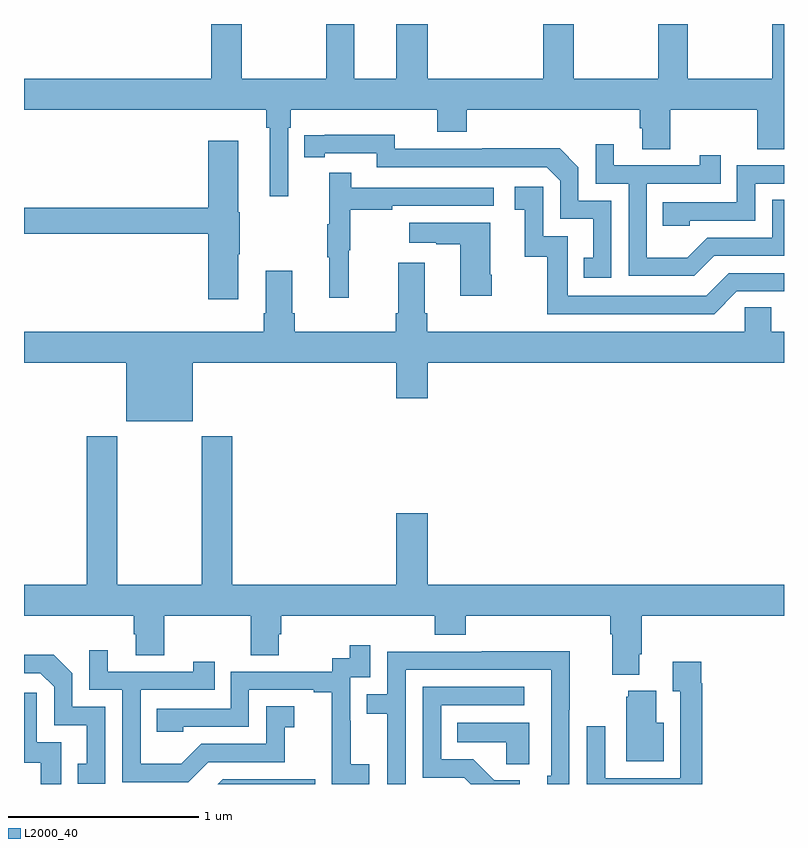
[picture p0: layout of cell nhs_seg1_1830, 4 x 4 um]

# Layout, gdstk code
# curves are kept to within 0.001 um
import gdstk
lib = gdstk.Library(unit=1e-6, precision=1e-09)
def P(c, l, *ps):  # polygons
    for p in ps: c.add(gdstk.Polygon(p, *l))
L2000_40 = (2000, 40)

nhs_seg1_1830 = lib.new_cell('nhs_seg1_1830')
P(nhs_seg1_1830, L2000_40, [(212.391,535.652),(212.405,535.652),(212.405,535.748),(213.176,535.748),(213.176,535.631),(213.329,535.631),(213.329,535.748),(214.241,535.748),(214.241,535.65),(214.253,535.65),(214.253,535.54),(214.401,535.54),(214.401,535.748),(214.858,535.748),(214.858,535.54),(215,535.54),(215,536.199),(214.939,536.199),(214.939,535.912),(214.494,535.912),(214.494,536.199),(214.339,536.199),(214.339,535.912),(213.894,535.912),(213.894,536.199),(213.734,536.199),(213.734,535.912),(213.124,535.912),(213.124,536.199),(212.96,536.199),(212.96,535.912),(212.737,535.912),(212.737,536.199),(212.59,536.199),(212.59,535.912),(212.145,535.912),(212.145,536.199),(211.985,536.199),(211.985,535.912),(211,535.912),(211,535.748),(212.275,535.748),(212.275,535.652),(212.294,535.652),(212.294,535.293),(212.391,535.293)],
  [(214.092,535.269),(213.918,535.269),(213.918,535.446),(213.82,535.544),(213.412,535.544),(213.412,535.542),(212.952,535.542),(212.952,535.615),(212.476,535.614),(212.476,535.498),(212.584,535.498),(212.584,535.518),(212.856,535.518),(212.856,535.446),(213.75,535.446),(213.822,535.374),(213.822,535.173),(213.995,535.173),(213.995,534.969),(213.946,534.969),(213.946,534.864),(214.092,534.864)],
  [(212.128,534.988),(212.136,534.988),(212.136,535.209),(212.128,535.209),(212.128,535.585),(211.97,535.585),(211.97,535.232),(211,535.232),(211,535.096),(211.97,535.096),(211.97,534.75),(212.128,534.75)],
  [(214.633,534.978),(215,534.978),(215,535.273),(214.938,535.273),(214.938,535.074),(214.596,535.074),(214.492,534.97),(214.278,534.97),(214.278,535.359),(214.667,535.359),(214.667,535.507),(214.556,535.507),(214.556,535.455),(214.105,535.455),(214.105,535.567),(214.008,535.567),(214.008,535.359),(214.182,535.359),(214.182,534.873),(214.528,534.873)],
  [(214.503,535.164),(214.848,535.164),(214.848,535.359),(215,535.359),(215,535.455),(214.752,535.455),(214.752,535.26),(214.363,535.26),(214.363,535.137),(214.503,535.137)],
  [(212.708,535.008),(212.716,535.008),(212.716,535.222),(212.939,535.222),(212.939,535.242),(213.472,535.242),(213.472,535.338),(212.723,535.338),(212.723,535.417),(212.606,535.417),(212.606,535.145),(212.595,535.145),(212.595,534.971),(212.606,534.971),(212.606,534.759),(212.708,534.759)],
  [(214.752,534.792),(215,534.792),(215,534.888),(214.71,534.888),(214.59,534.768),(213.861,534.768),(213.861,535.083),(213.732,535.083),(213.732,535.342),(213.582,535.342),(213.582,535.221),(213.635,535.221),(213.635,534.975),(213.753,534.975),(213.753,534.672),(214.632,534.672)],
  [(213.462,534.88),(213.454,534.88),(213.454,535.153),(213.027,535.153),(213.027,535.049),(213.17,535.049),(213.17,535.039),(213.296,535.039),(213.296,534.768),(213.462,534.768)],
  [(211.888,534.416),(212.96,534.416),(212.96,534.228),(213.124,534.228),(213.124,534.416),(215,534.416),(215,534.58),(214.933,534.58),(214.933,534.707),(214.794,534.707),(214.794,534.58),(213.122,534.58),(213.122,534.676),(213.109,534.676),(213.109,534.943),(212.969,534.943),(212.969,534.676),(212.957,534.676),(212.957,534.58),(212.426,534.58),(212.426,534.676),(212.413,534.676),(212.413,534.901),(212.273,534.901),(212.273,534.676),(212.261,534.676),(212.261,534.58),(211,534.58),(211,534.416),(211.538,534.416),(211.538,534.107),(211.888,534.107)],
  [(214.237,532.882),(214.25,532.882),(214.25,533.084),(215,533.084),(215,533.248),(213.124,533.248),(213.124,533.623),(212.96,533.623),(212.96,533.248),(212.096,533.248),(212.096,534.028),(211.936,534.028),(211.936,533.248),(211.491,533.248),(211.491,534.028),(211.331,534.028),(211.331,533.248),(211,533.248),(211,533.084),(211.577,533.084),(211.577,532.986),(211.589,532.986),(211.589,532.876),(211.737,532.876),(211.737,533.084),(212.194,533.084),(212.194,532.876),(212.341,532.876),(212.341,532.986),(212.354,532.986),(212.354,533.084),(213.161,533.084),(213.161,532.985),(213.326,532.985),(213.326,533.084),(214.085,533.084),(214.085,532.988),(214.097,532.988),(214.097,532.775),(214.237,532.775)],
  [(212.818,532.303),(212.72,532.303),(212.72,532.532),(212.718,532.532),(212.718,532.761),(212.823,532.761),(212.823,532.93),(212.715,532.93),(212.715,532.86),(212.622,532.86),(212.622,532.791),(212.088,532.791),(212.088,532.596),(211.699,532.596),(211.699,532.473),(211.839,532.473),(211.839,532.5),(212.184,532.5),(212.184,532.695),(212.525,532.695),(212.525,532.683),(212.621,532.683),(212.621,532.399),(212.62,532.399),(212.62,532.199),(212.818,532.199)],
  [(211.969,532.314),(212.373,532.314),(212.373,532.499),(212.422,532.499),(212.422,532.609),(212.274,532.609),(212.274,532.41),(211.932,532.41),(211.828,532.306),(211.614,532.306),(211.614,532.695),(212.003,532.695),(212.003,532.843),(211.892,532.843),(211.892,532.791),(211.441,532.791),(211.441,532.903),(211.344,532.903),(211.344,532.695),(211.518,532.695),(211.518,532.209),(211.864,532.209)],
  [(213.009,532.8),(213.774,532.8),(213.774,532.242),(213.755,532.242),(213.755,532.199),(213.87,532.199),(213.87,532.591),(213.873,532.591),(213.873,532.898),(213.409,532.898),(213.409,532.896),(212.913,532.896),(212.913,532.671),(212.803,532.671),(212.803,532.57),(212.913,532.57),(212.913,532.199),(213.009,532.199)],
  [(211.428,532.605),(211.254,532.605),(211.254,532.782),(211.156,532.88),(211,532.88),(211,532.782),(211.086,532.782),(211.158,532.71),(211.158,532.509),(211.331,532.509),(211.331,532.305),(211.282,532.305),(211.282,532.2),(211.428,532.2)],
  [(214.571,532.73),(214.564,532.73),(214.564,532.843),(214.415,532.843),(214.415,532.687),(214.455,532.687),(214.455,532.23),(214.059,532.23),(214.059,532.504),(213.963,532.504),(213.963,532.199),(214.571,532.199)],
  [(213.61,532.218),(213.475,532.218),(213.364,532.329),(213.195,532.329),(213.195,532.614),(213.634,532.614),(213.634,532.71),(213.099,532.71),(213.099,532.233),(213.318,532.233),(213.352,532.199),(213.61,532.199)],
  [(214.366,532.522),(214.327,532.522),(214.327,532.69),(214.181,532.69),(214.181,532.659),(214.169,532.659),(214.169,532.319),(214.366,532.319)],
  [(211.197,532.419),(211.068,532.419),(211.068,532.678),(211,532.678),(211,532.311),(211.089,532.311),(211.089,532.199),(211.197,532.199)],
  [(213.658,532.522),(213.28,532.522),(213.28,532.418),(213.537,532.418),(213.537,532.303),(213.658,532.303)],
  [(212.532,532.224),(212.046,532.224),(212.021,532.199),(212.532,532.199)])

lib.write_gds('nhs_seg1_1830.gds')
